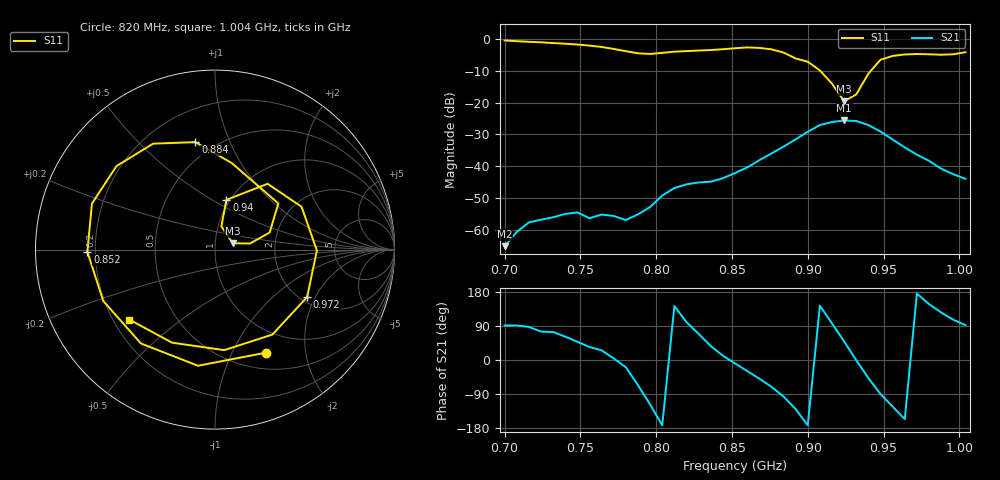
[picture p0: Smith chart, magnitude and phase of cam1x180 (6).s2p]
# Hz S RI R 50
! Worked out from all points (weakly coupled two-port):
!   39 points, 700 MHz to 1.004 GHz, reference 50 ohm
!   highest |S21| = -25.62 dB at 924 MHz (marker M1); lowest = -65.1 dB at 700 MHz (marker M2)
!   lowest |S11| = -19.6 dB at 924 MHz (marker M3), VSWR 1.23, Z = 60.7 + j4.38 ohm
!   |S11| at or under -10 dB: 908.1 MHz to 941.7 MHz (33.57 MHz wide, 3.63 % of centre)
!   S12 and S22 are empty: the file has one direction only
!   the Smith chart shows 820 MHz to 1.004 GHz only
!   S11 on the Smith chart (normalised r, x): 820 MHz: 0.70, -1.36; 852 MHz: 0.17, -0.01; 884 MHz: 0.40, +0.75; 940 MHz: 0.96, +0.58; 972 MHz: 2.17, -1.72; 1.004 GHz: 0.27, -0.33
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7e8  0.7639 0.5507  -1.16e-05 0.000557  0 0  0 0
7.24e8  0.845 -0.2496  0.000374 0.0014  0 0  0 0
7.4e8  0.4564 -0.7016  0.00085 0.00157  0 0  0 0
7.56e8  -0.1906 -0.759  0.00127 0.000861  0 0  0 0
7.72e8  -0.6634 -0.2005  0.00166 0.000117  0 0  0 0
7.8e8  -0.5983 0.2232  0.00136 -0.000469  0 0  0 0
7.88e8  -0.2536 0.5353  0.000699 -0.00161  0 0  0 0
7.96e8  0.2353 0.528  -0.00107 -0.00203  0 0  0 0
8.04e8  0.572 0.1874  -0.00344 -0.00048  0 0  0 0
8.2e8  0.2843 -0.5741  -0.000884 0.00512  0 0  0 0
8.36e8  -0.4125 -0.523  0.00458 0.00344  0 0  0 0
8.52e8  -0.711 -0.0122  0.00773 -0.00123  0 0  0 0
8.68e8  -0.5486 0.4655  0.00815 -0.00938  0 0  0 0
8.84e8  -0.1092 0.5987  -0.00227 -0.0202  0 0  0 0
9e8  0.3532 0.257  -0.0346 -0.00455  0 0  0 0
9.08e8  0.3043 0.0952  -0.0356 0.0264  0 0  0 0
9.24e8  0.0984 0.0356  0.0343 0.0396  0 0  0 0
9.4e8  0.0632 0.2769  0.0299 -0.0328  0 0  0 0
9.56e8  0.4822 0.2388  -0.0143 -0.022  0 0  0 0
9.72e8  0.5134 -0.2641  -0.0152 0.00128  0 0  0 0
9.88e8  0.0512 -0.5602  -0.00532 0.00747  0 0  0 0
1.004e9  -0.477 -0.3899  -0.000227 0.00634  0 0  0 0
